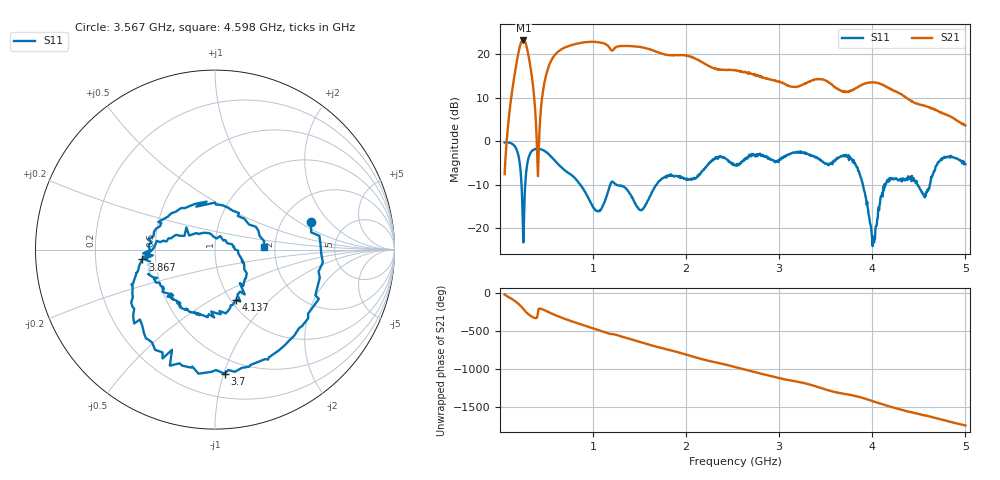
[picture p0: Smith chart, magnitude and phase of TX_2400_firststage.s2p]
# HZ S RI R 50
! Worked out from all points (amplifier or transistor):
!   1010 points, 50 MHz to 5 GHz, reference 50 ohm
!   highest |S21| = 23.1 dB at 251.1 MHz (marker M1)
!   |S21| within 3 dB of that: 603.5 MHz to 1.735 GHz (1.132 GHz wide, 96.8 % of centre)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
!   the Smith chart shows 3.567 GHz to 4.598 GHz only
!   S11 on the Smith chart (normalised r, x): 3.567 GHz: 2.87, +1.29; 3.7 GHz: 0.38, -1.01; 3.867 GHz: 0.42, -0.06; 4.137 GHz: 1.06, -0.65; 4.598 GHz: 1.75, +0.05
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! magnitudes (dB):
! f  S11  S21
! 50 MHz  -0.3  -7.5
! 182.5 MHz  -2.1  18.5
! 251.1 MHz  -23.2  23.1
! 310 MHz  -3.6  19.3
! 408.1 MHz  -1.7  -8.0
! 540.6 MHz  -3.3  18.1
! 879.1 MHz  -10.5  22.6
! 1.041 GHz  -16.0  22.8
! 1.213 GHz  -9.3  20.9
! 1.517 GHz  -15.8  21.6
! 1.703 GHz  -9.3  20.4
! 2.527 GHz  -5.5  16.3
! 3.352 GHz  -3.3  14.0
! 3.567 GHz  -5.1  13.0
! 3.7 GHz  -3.2  11.5
! 3.867 GHz  -7.8  12.7
! 4.009 GHz  -22.2  13.5
! 4.137 GHz  -10.4  12.7
! 4.176 GHz  -9.0  12.2
! 4.598 GHz  -11.3  7.9
! 4.75 GHz  -3.9  6.5
! 5 GHz  -5.3  3.6
